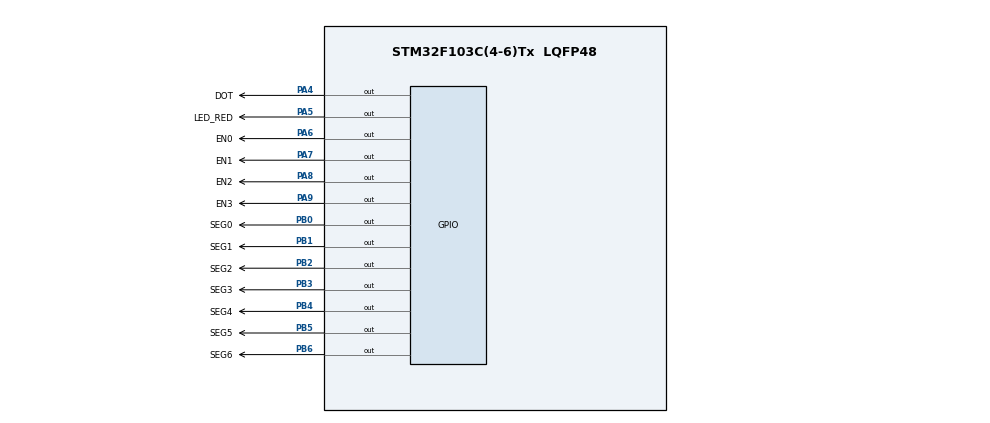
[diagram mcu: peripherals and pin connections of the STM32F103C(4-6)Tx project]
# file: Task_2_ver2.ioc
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Mcu.Family=STM32F1
Mcu.Name=STM32F103C(4-6)Tx
Mcu.Package=LQFP48
NVIC.PriorityGroup=NVIC_PRIORITYGROUP_4
NVIC.TIM2_IRQn=true\:0\:0\:false\:false\:true\:true\:true
PA4.GPIO_Label=DOT
PA4.Signal=GPIO_Output
PA5.GPIO_Label=LED_RED
PA5.Signal=GPIO_Output
PA6.GPIO_Label=EN0
PA6.Signal=GPIO_Output
PA7.GPIO_Label=EN1
PA7.Signal=GPIO_Output
PA8.GPIO_Label=EN2
PA8.Signal=GPIO_Output
PA9.GPIO_Label=EN3
PA9.Signal=GPIO_Output
PB0.GPIO_Label=SEG0
PB0.Signal=GPIO_Output
PB1.GPIO_Label=SEG1
PB1.Signal=GPIO_Output
PB2.GPIO_Label=SEG2
PB2.Signal=GPIO_Output
PB3.GPIO_Label=SEG3
PB3.Signal=GPIO_Output
PB4.GPIO_Label=SEG4
PB4.Signal=GPIO_Output
PB5.GPIO_Label=SEG5
PB5.Signal=GPIO_Output
PB6.GPIO_Label=SEG6
PB6.Signal=GPIO_Output
ProjectManager.HeapSize=0x200
ProjectManager.StackSize=0x400
ProjectManager.TargetToolchain=STM32CubeIDE
RCC.APB1Freq_Value=8000000
RCC.APB2Freq_Value=8000000
TIM2.Period=9
TIM2.Prescaler=7999
VP_SYS_VS_ND.Mode=No_Debug
VP_TIM2_VS_ClockSourceINT.Mode=Internal
board=custom

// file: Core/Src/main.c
/* USER CODE BEGIN Header */
/**
  ******************************************************************************
  * @file           : main.c
  * @brief          : Main program body
  ******************************************************************************
  * @attention
  *
  * <h2><center>&copy; Copyright (c) 2022 STMicroelectronics.
  * All rights reserved.</center></h2>
  *
  * This software component is licensed by ST under BSD 3-Clause license,
  * the "License"; You may not use this file except in compliance with the
  * License. You may obtain a copy of the License at:
  *                        opensource.org/licenses/BSD-3-Clause
  *
  ******************************************************************************
  */
/* USER CODE END Header */
#include "main.h"

/* USER CODE BEGIN Includes */
//#include "software_timer.h"
/* USER CODE END Includes */

TIM_HandleTypeDef htim2;

void SystemClock_Config(void);
static void MX_GPIO_Init(void);
static void MX_TIM2_Init(void);

void  display7SEG_1(int num)     // LED 7 doan kiem soat den giao thong o line 1 va 3
   {

 	 if(num==0)
 	 {
 	 	 // Number 0
 	           HAL_GPIO_WritePin(SEG0_GPIO_Port, SEG0_Pin, 0);          //a
 	  	       HAL_GPIO_WritePin(SEG1_GPIO_Port, SEG1_Pin, 0);      //b
 	  	       HAL_GPIO_WritePin(SEG2_GPIO_Port, SEG2_Pin, 0);     //c
 	  	       HAL_GPIO_WritePin(SEG3_GPIO_Port, SEG3_Pin, 0);     //d
 	  	       HAL_GPIO_WritePin(SEG4_GPIO_Port, SEG4_Pin, 0);     //e
 	  	       HAL_GPIO_WritePin(SEG5_GPIO_Port, SEG5_Pin, 0);     //f
 	  	       HAL_GPIO_WritePin(SEG6_GPIO_Port, SEG6_Pin, 1);    //g
 	 }
 	 if(num==1)
 	 {
 		 // Number 1

 		          HAL_GPIO_WritePin(SEG0_GPIO_Port, SEG0_Pin, 1);          //a
 		 	  	  HAL_GPIO_WritePin(SEG1_GPIO_Port, SEG1_Pin, 0);      //b
 		 	  	  HAL_GPIO_WritePin(SEG2_GPIO_Port, SEG2_Pin, 0);     //c
 		 	  	  HAL_GPIO_WritePin(SEG3_GPIO_Port, SEG3_Pin, 1);     //d
 		 	  	  HAL_GPIO_WritePin(SEG4_GPIO_Port, SEG4_Pin, 1);     //e
 		 	  	  HAL_GPIO_WritePin(SEG5_GPIO_Port, SEG5_Pin, 1);     //f
 		 	  	  HAL_GPIO_WritePin(SEG6_GPIO_Port, SEG6_Pin, 1);    //g
 	 }
 	 if(num==2)
 	 {
 		 // Number 2

 		          HAL_GPIO_WritePin(SEG0_GPIO_Port, SEG0_Pin, 0);          //a
 		 	  	  HAL_GPIO_WritePin(SEG1_GPIO_Port, SEG1_Pin, 0);      //b
 		 	  	  HAL_GPIO_WritePin(SEG2_GPIO_Port, SEG2_Pin, 1);     //c
 		 	  	  HAL_GPIO_WritePin(SEG3_GPIO_Port, SEG3_Pin, 0);     //d
 		 	  	  HAL_GPIO_WritePin(SEG4_GPIO_Port, SEG4_Pin, 0);     //e
 		 	  	  HAL_GPIO_WritePin(SEG5_GPIO_Port, SEG5_Pin, 1);     //f
 		 	  	  HAL_GPIO_WritePin(SEG6_GPIO_Port, SEG6_Pin, 0);    //g
 	 }
 	 if(num==3)
 	 {
 		          HAL_GPIO_WritePin(SEG0_GPIO_Port, SEG0_Pin, 0);          //a
 		 	  	  HAL_GPIO_WritePin(SEG1_GPIO_Port, SEG1_Pin, 0);      //b
 		 	  	  HAL_GPIO_WritePin(SEG2_GPIO_Port, SEG2_Pin, 0);     //c
 		 	  	  HAL_GPIO_WritePin(SEG3_GPIO_Port, SEG3_Pin, 0);     //d
 		 	  	  HAL_GPIO_WritePin(SEG4_GPIO_Port, SEG4_Pin, 1);     //e
 		 	  	  HAL_GPIO_WritePin(SEG5_GPIO_Port, SEG5_Pin, 1);     //f
 		 	  	  HAL_GPIO_WritePin(SEG6_GPIO_Port, SEG6_Pin, 0);    //g
 	 }
 	 if(num==4)
 	 {
 		 // Number 4
 		          HAL_GPIO_WritePin(SEG0_GPIO_Port, SEG0_Pin, 1);          //a
 		 	  	  HAL_GPIO_WritePin(SEG1_GPIO_Port, SEG1_Pin, 0);      //b
 		 	  	  HAL_GPIO_WritePin(SEG2_GPIO_Port, SEG2_Pin, 0);     //c
 		 	  	  HAL_GPIO_WritePin(SEG3_GPIO_Port, SEG3_Pin, 1);     //d
 		 	  	  HAL_GPIO_WritePin(SEG4_GPIO_Port, SEG4_Pin, 1);     //e
 		 	  	  HAL_GPIO_WritePin(SEG5_GPIO_Port, SEG5_Pin, 0);     //f
 		 	  	  HAL_GPIO_WritePin(SEG6_GPIO_Port, SEG6_Pin, 0);    //g
 	 }
 	 if(num==5)
 	 {
 		 //Number= 5
 		          HAL_GPIO_WritePin(SEG0_GPIO_Port, SEG0_Pin, 0);          //a
 		 	  	  HAL_GPIO_WritePin(SEG1_GPIO_Port, SEG1_Pin, 1);      //b
 		 	  	  HAL_GPIO_WritePin(SEG2_GPIO_Port, SEG2_Pin, 0);     //c
 		 	  	  HAL_GPIO_WritePin(SEG3_GPIO_Port, SEG3_Pin, 0);     //d
 		 	  	  HAL_GPIO_WritePin(SEG4_GPIO_Port, SEG4_Pin, 1);     //e
 		 	  	  HAL_GPIO_WritePin(SEG5_GPIO_Port, SEG5_Pin, 0);     //f
 		 	  	  HAL_GPIO_WritePin(SEG6_GPIO_Port, SEG6_Pin, 0);    //g
 	 }
 	 if(num==6)
 	 {
 		 // Number 6
 		          HAL_GPIO_WritePin(SEG0_GPIO_Port, SEG0_Pin, 0);          //a
 		 	  	  HAL_GPIO_WritePin(SEG1_GPIO_Port, SEG1_Pin, 1);      //b
 		 	  	  HAL_GPIO_WritePin(SEG2_GPIO_Port, SEG2_Pin, 0);     //c
 		 	  	  HAL_GPIO_WritePin(SEG3_GPIO_Port, SEG3_Pin, 0);     //d
 		 	  	  HAL_GPIO_WritePin(SEG4_GPIO_Port, SEG4_Pin, 0);     //e
 		 	  	  HAL_GPIO_WritePin(SEG5_GPIO_Port, SEG5_Pin, 0);     //f
 		 	  	  HAL_GPIO_WritePin(SEG6_GPIO_Port, SEG6_Pin, 0);    //g
 	 }
 	 if(num==7)
 	 {
 		 // Number 7
 		          HAL_GPIO_WritePin(SEG0_GPIO_Port, SEG0_Pin, 0);          //a
 		 	  	  HAL_GPIO_WritePin(SEG1_GPIO_Port, SEG1_Pin, 0);      //b
 		 	  	  HAL_GPIO_WritePin(SEG2_GPIO_Port, SEG2_Pin, 0);     //c
 		 	  	  HAL_GPIO_WritePin(SEG3_GPIO_Port, SEG3_Pin, 1);     //d
 		 	  	  HAL_GPIO_WritePin(SEG4_GPIO_Port, SEG4_Pin, 1);     //e
 		 	  	  HAL_GPIO_WritePin(SEG5_GPIO_Port, SEG5_Pin, 1);     //f
 		 	  	  HAL_GPIO_WritePin(SEG6_GPIO_Port, SEG6_Pin, 1);    //g
 	 }
 	 if(num==8)
 	 {
 		  // Number 8
 		          HAL_GPIO_WritePin(SEG0_GPIO_Port, SEG0_Pin, 0);          //a
 		 	  	  HAL_GPIO_WritePin(SEG1_GPIO_Port, SEG1_Pin, 0);      //b
 		 	  	  HAL_GPIO_WritePin(SEG2_GPIO_Port, SEG2_Pin, 0);     //c
 		 	  	  HAL_GPIO_WritePin(SEG3_GPIO_Port, SEG3_Pin, 0);     //d
 		 	  	  HAL_GPIO_WritePin(SEG4_GPIO_Port, SEG4_Pin, 0);     //e
 		 	  	  HAL_GPIO_WritePin(SEG5_GPIO_Port, SEG5_Pin, 0);     //f
 		 	  	  HAL_GPIO_WritePin(SEG6_GPIO_Port, SEG6_Pin, 0);    //g
 	 }
 	 if(num==9)
 	 {
 		 // Number 9
 		          HAL_GPIO_WritePin(SEG0_GPIO_Port, SEG0_Pin, 0);          //a
 		 	  	  HAL_GPIO_WritePin(SEG1_GPIO_Port, SEG1_Pin, 0);      //b
 		 	  	  HAL_GPIO_WritePin(SEG2_GPIO_Port, SEG2_Pin, 0);     //c
 		 	  	  HAL_GPIO_WritePin(SEG3_GPIO_Port, SEG3_Pin, 0);     //d
 		 	  	  HAL_GPIO_WritePin(SEG4_GPIO_Port, SEG4_Pin, 1);     //e
 		 	  	  HAL_GPIO_WritePin(SEG5_GPIO_Port, SEG5_Pin, 0);     //f
 		 	  	  HAL_GPIO_WritePin(SEG6_GPIO_Port, SEG6_Pin, 0);    //g
 	 }
   }
int main(void)
{

  /* MCU Configuration--------------------------------------------------------*/

  /* Reset of all peripherals, Initializes the Flash interface and the Systick. */
  HAL_Init();

  /* Configure the system clock */
  SystemClock_Config();

  /* Initialize all configured peripherals */
  MX_GPIO_Init();
  MX_TIM2_Init();
  /* USER CODE BEGIN 2 */
  HAL_TIM_Base_Start_IT (& htim2 );
  /* USER CODE END 2 */

  /* Infinite loop */
  /* USER CODE BEGIN WHILE */
 // setTimer1 (50);               // 50*10 (ms) = 0.5 s
 // setTimer2(100);               // 100*10 (ms) = 1 s
 // int led_status = 1;
  while (1)
  {
    /* USER CODE END WHILE */

  }
}

void SystemClock_Config(void)
{
  RCC_OscInitTypeDef RCC_OscInitStruct = {0};
  RCC_ClkInitTypeDef RCC_ClkInitStruct = {0};

  /** Initializes the RCC Oscillators according to the specified parameters
  * in the RCC_OscInitTypeDef structure.
  */
  RCC_OscInitStruct.OscillatorType = RCC_OSCILLATORTYPE_HSI;
  RCC_OscInitStruct.HSIState = RCC_HSI_ON;
  RCC_OscInitStruct.HSICalibrationValue = RCC_HSICALIBRATION_DEFAULT;
  RCC_OscInitStruct.PLL.PLLState = RCC_PLL_NONE;
  if (HAL_RCC_OscConfig(&RCC_OscInitStruct) != HAL_OK)
  {
    Error_Handler();
  }
  /** Initializes the CPU, AHB and APB buses clocks
  */
  RCC_ClkInitStruct.ClockType = RCC_CLOCKTYPE_HCLK|RCC_CLOCKTYPE_SYSCLK
                              |RCC_CLOCKTYPE_PCLK1|RCC_CLOCKTYPE_PCLK2;
  RCC_ClkInitStruct.SYSCLKSource = RCC_SYSCLKSOURCE_HSI;
  RCC_ClkInitStruct.AHBCLKDivider = RCC_SYSCLK_DIV1;
  RCC_ClkInitStruct.APB1CLKDivider = RCC_HCLK_DIV1;
  RCC_ClkInitStruct.APB2CLKDivider = RCC_HCLK_DIV1;

  if (HAL_RCC_ClockConfig(&RCC_ClkInitStruct, FLASH_LATENCY_0) != HAL_OK)
  {
    Error_Handler();
  }
}

static void MX_TIM2_Init(void)
{

  TIM_ClockConfigTypeDef sClockSourceConfig = {0};
  TIM_MasterConfigTypeDef sMasterConfig = {0};

  htim2.Instance = TIM2;
  htim2.Init.Prescaler = 7999;
  htim2.Init.CounterMode = TIM_COUNTERMODE_UP;
  htim2.Init.Period = 9;
  htim2.Init.ClockDivision = TIM_CLOCKDIVISION_DIV1;
  htim2.Init.AutoReloadPreload = TIM_AUTORELOAD_PRELOAD_DISABLE;
  if (HAL_TIM_Base_Init(&htim2) != HAL_OK)
  {
    Error_Handler();
  }
  sClockSourceConfig.ClockSource = TIM_CLOCKSOURCE_INTERNAL;
  if (HAL_TIM_ConfigClockSource(&htim2, &sClockSourceConfig) != HAL_OK)
  {
    Error_Handler();
  }
  sMasterConfig.MasterOutputTrigger = TIM_TRGO_RESET;
  sMasterConfig.MasterSlaveMode = TIM_MASTERSLAVEMODE_DISABLE;
  if (HAL_TIMEx_MasterConfigSynchronization(&htim2, &sMasterConfig) != HAL_OK)
  {
    Error_Handler();
  }

}

static void MX_GPIO_Init(void)
{
  GPIO_InitTypeDef GPIO_InitStruct = {0};

  /* GPIO Ports Clock Enable */
  __HAL_RCC_GPIOA_CLK_ENABLE();
  __HAL_RCC_GPIOB_CLK_ENABLE();

  /*Configure GPIO pin Output Level */
  HAL_GPIO_WritePin(GPIOA, DOT_Pin|LED_RED_Pin|EN0_Pin|EN1_Pin
                          |EN2_Pin|EN3_Pin, GPIO_PIN_RESET);

  /*Configure GPIO pin Output Level */
  HAL_GPIO_WritePin(GPIOB, SEG0_Pin|SEG1_Pin|SEG2_Pin|SEG3_Pin
                          |SEG4_Pin|SEG5_Pin|SEG6_Pin, GPIO_PIN_RESET);

  /*Configure GPIO pins : DOT_Pin LED_RED_Pin EN0_Pin EN1_Pin
                           EN2_Pin EN3_Pin */
  GPIO_InitStruct.Pin = DOT_Pin|LED_RED_Pin|EN0_Pin|EN1_Pin
                          |EN2_Pin|EN3_Pin;
  GPIO_InitStruct.Mode = GPIO_MODE_OUTPUT_PP;
  GPIO_InitStruct.Pull = GPIO_NOPULL;
  GPIO_InitStruct.Speed = GPIO_SPEED_FREQ_LOW;
  HAL_GPIO_Init(GPIOA, &GPIO_InitStruct);

  /*Configure GPIO pins : SEG0_Pin SEG1_Pin SEG2_Pin SEG3_Pin
                           SEG4_Pin SEG5_Pin SEG6_Pin */
  GPIO_InitStruct.Pin = SEG0_Pin|SEG1_Pin|SEG2_Pin|SEG3_Pin
                          |SEG4_Pin|SEG5_Pin|SEG6_Pin;
  GPIO_InitStruct.Mode = GPIO_MODE_OUTPUT_PP;
  GPIO_InitStruct.Pull = GPIO_NOPULL;
  GPIO_InitStruct.Speed = GPIO_SPEED_FREQ_LOW;
  HAL_GPIO_Init(GPIOB, &GPIO_InitStruct);

}

/* USER CODE BEGIN 4 */
int counter_1=50;
int counter_2=100;
int led_status=1; // led_status=1
void HAL_TIM_PeriodElapsedCallback ( TIM_HandleTypeDef * htim )
{
	counter_1 --;
	counter_2--;
  if(led_status==1 && counter_1 <= 0)
  {
	  if(counter_2 <=0)
	  {
		  counter_2=100;
		  HAL_GPIO_WritePin(DOT_GPIO_Port, DOT_Pin, 0);
	  }
	  else
	  {
		  HAL_GPIO_WritePin(DOT_GPIO_Port, DOT_Pin, 1);
	  }
	  counter_1= 50;
	  led_status=2;
	  HAL_GPIO_WritePin(EN0_GPIO_Port, EN0_Pin, 0);
	  HAL_GPIO_WritePin(EN1_GPIO_Port, EN1_Pin, 1);
	  HAL_GPIO_WritePin(EN2_GPIO_Port, EN2_Pin, 1);
	  HAL_GPIO_WritePin(EN3_GPIO_Port, EN3_Pin, 1);
	  display7SEG_1(1);
  }
  if(led_status==2 && counter_1 <= 0)
  {
	  if(counter_2 <=0)
	  {
		  counter_2=100;
		  HAL_GPIO_WritePin(DOT_GPIO_Port, DOT_Pin, 0);
	  }
	  else
	  {
		  HAL_GPIO_WritePin(DOT_GPIO_Port, DOT_Pin, 1);
	  }
	  counter_1= 50;
	  led_status=3;
	  HAL_GPIO_WritePin(EN0_GPIO_Port, EN0_Pin, 1);
	  HAL_GPIO_WritePin(EN1_GPIO_Port, EN1_Pin, 0);
	  HAL_GPIO_WritePin(EN2_GPIO_Port, EN2_Pin, 1);
	  HAL_GPIO_WritePin(EN3_GPIO_Port, EN3_Pin, 1);
	  display7SEG_1(2);
  }
  if(led_status==3 && counter_1 <= 0)
  {
	  if(counter_2 <=0)
	  {
		  counter_2=100;
		  HAL_GPIO_WritePin(DOT_GPIO_Port, DOT_Pin, 0);
	  }
	  else
	  {
		  HAL_GPIO_WritePin(DOT_GPIO_Port, DOT_Pin, 1);
	  }
	  counter_1= 50;
	  led_status=4;
	  HAL_GPIO_WritePin(EN0_GPIO_Port, EN0_Pin, 1);
	  HAL_GPIO_WritePin(EN1_GPIO_Port, EN1_Pin, 1);
	  HAL_GPIO_WritePin(EN2_GPIO_Port, EN2_Pin, 0);
	  HAL_GPIO_WritePin(EN3_GPIO_Port, EN3_Pin, 1);
	  display7SEG_1(3);
  }
  if(led_status==4 && counter_1 <= 0)
  {
	  if(counter_2 <=0)
	  {
		  counter_2=100;
		  HAL_GPIO_WritePin(DOT_GPIO_Port, DOT_Pin, 0);
	  }
	  else
	  {
		  HAL_GPIO_WritePin(DOT_GPIO_Port, DOT_Pin, 1);
	  }
	  counter_1= 50;
	  led_status=1;
	  HAL_GPIO_WritePin(EN0_GPIO_Port, EN0_Pin, 1);
	  HAL_GPIO_WritePin(EN1_GPIO_Port, EN1_Pin, 1);
	  HAL_GPIO_WritePin(EN2_GPIO_Port, EN2_Pin, 1);
	  HAL_GPIO_WritePin(EN3_GPIO_Port, EN3_Pin, 0);
	  display7SEG_1(0);
  }
}
/* USER CODE END 4 */

void Error_Handler(void)
{
  __disable_irq();
  while (1)
  {
  }
}

/************************ (C) COPYRIGHT STMicroelectronics *****END OF FILE****/
